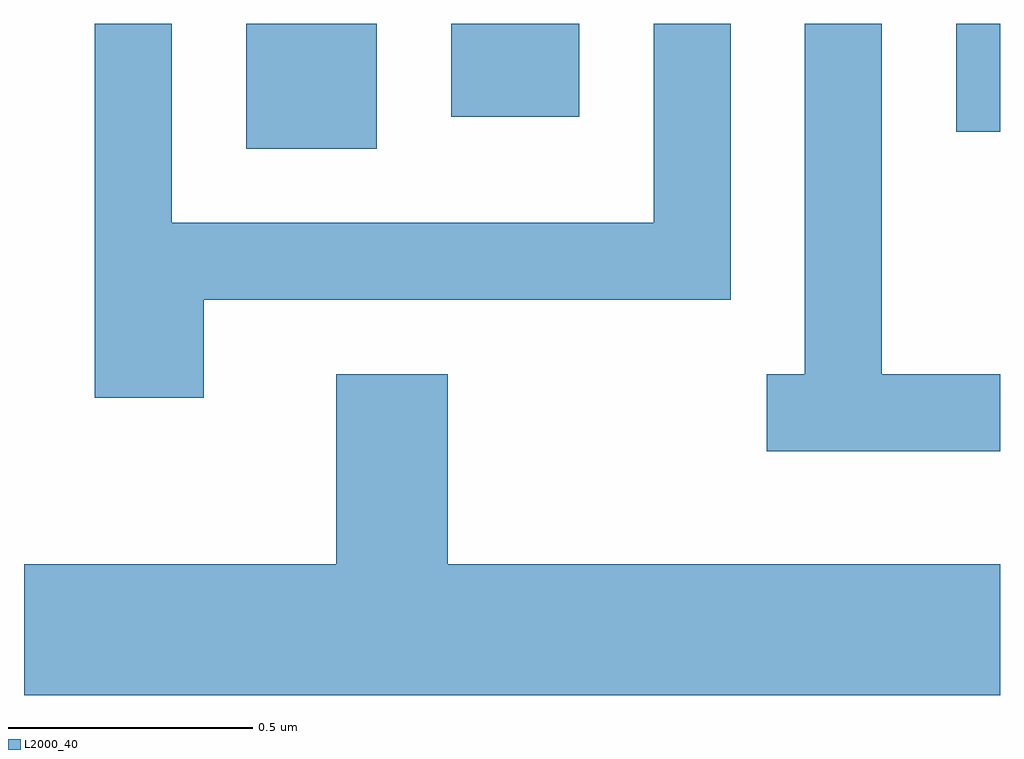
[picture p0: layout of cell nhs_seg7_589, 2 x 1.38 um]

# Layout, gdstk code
import gdstk
lib = gdstk.Library(unit=1e-6, precision=1e-09)
def R(c, l, rs):  # rectangles x0, y0, x1, y1
    for r in rs: c.add(gdstk.rectangle(r[:2], r[2:], *l))
def P(c, l, *ps):  # polygons
    for p in ps: c.add(gdstk.Polygon(p, *l))
L2000_40 = (2000, 40)

nhs_seg7_589 = lib.new_cell('nhs_seg7_589')
R(nhs_seg7_589, L2000_40, [(190.066,1710.996,190.334,1711.252), (191.521,1711.031,191.611,1711.252), (190.486,1711.061,190.749,1711.252)])
P(nhs_seg7_589, L2000_40, [(189.979,1710.686),(191.059,1710.686),(191.059,1711.252),(190.901,1711.252),(190.901,1710.844),(189.914,1710.844),(189.914,1711.252),(189.756,1711.252),(189.756,1710.486),(189.979,1710.486)],
  [(191.611,1710.534),(191.369,1710.534),(191.369,1711.252),(191.211,1711.252),(191.211,1710.534),(191.133,1710.534),(191.133,1710.376),(191.611,1710.376)],
  [(191.611,1710.144),(190.479,1710.144),(190.479,1710.534),(190.251,1710.534),(190.251,1710.144),(189.611,1710.144),(189.611,1709.876),(191.611,1709.876)])

lib.write_gds('nhs_seg7_589.gds')
